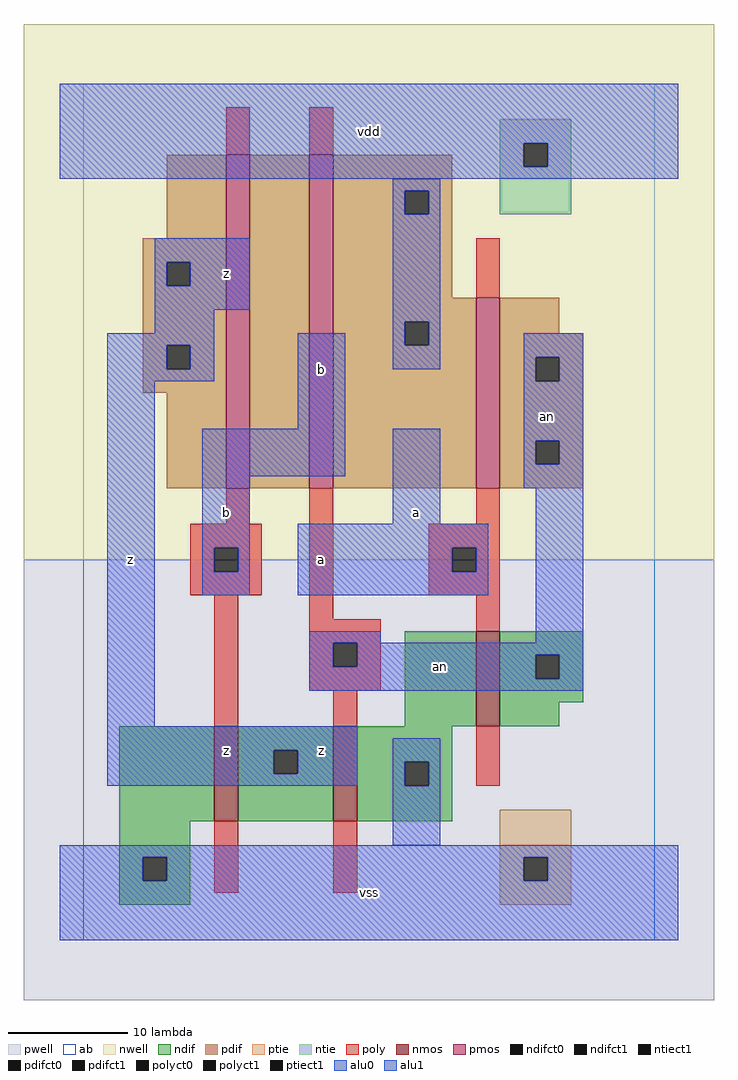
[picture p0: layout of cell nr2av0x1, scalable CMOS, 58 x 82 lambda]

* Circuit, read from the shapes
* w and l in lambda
.subckt nr2av0x1 a an b vdd vss z
M1 z b vss vss nfet w=8 l=2
M2 vss an z vss nfet w=8 l=2
M3 an a vss vss nfet w=8 l=2
M4 n1 b z vdd pfet w=28 l=2
M5 vdd an n1 vdd pfet w=28 l=2
M6 an a vdd vdd pfet w=16 l=2
.ends

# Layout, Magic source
magic
tech scmos
<< ab >>
rect 0 0 48 72
<< nwell >>
rect -5 32 53 77
<< pwell >>
rect -5 -5 53 32
<< poly >>
rect 12 66 14 70
rect 19 66 21 70
rect 33 54 35 59
rect 12 35 14 38
rect 9 33 15 35
rect 9 31 11 33
rect 13 31 15 33
rect 9 29 15 31
rect 11 18 13 29
rect 19 27 21 38
rect 33 35 35 38
rect 29 33 35 35
rect 29 31 31 33
rect 33 31 35 33
rect 29 29 35 31
rect 19 25 25 27
rect 33 26 35 29
rect 19 23 21 25
rect 23 23 25 25
rect 19 21 25 23
rect 21 18 23 21
rect 33 13 35 18
rect 11 4 13 10
rect 21 4 23 10
<< ndif >>
rect 27 18 33 26
rect 35 24 42 26
rect 35 22 38 24
rect 40 22 42 24
rect 35 20 42 22
rect 35 18 40 20
rect 3 10 11 18
rect 13 16 21 18
rect 13 14 16 16
rect 18 14 21 16
rect 13 10 21 14
rect 23 15 31 18
rect 23 13 27 15
rect 29 13 31 15
rect 23 10 31 13
rect 3 7 9 10
rect 3 5 5 7
rect 7 5 9 7
rect 3 3 9 5
<< pdif >>
rect 7 59 12 66
rect 5 57 12 59
rect 5 55 7 57
rect 9 55 12 57
rect 5 50 12 55
rect 5 48 7 50
rect 9 48 12 50
rect 5 46 12 48
rect 7 38 12 46
rect 14 38 19 66
rect 21 63 31 66
rect 21 61 27 63
rect 29 61 31 63
rect 21 54 31 61
rect 21 52 33 54
rect 21 50 27 52
rect 29 50 33 52
rect 21 38 33 50
rect 35 51 40 54
rect 35 49 42 51
rect 35 47 38 49
rect 40 47 42 49
rect 35 42 42 47
rect 35 40 38 42
rect 40 40 42 42
rect 35 38 42 40
<< alu1 >>
rect -2 67 50 72
rect -2 65 37 67
rect 39 65 50 67
rect -2 64 50 65
rect 6 57 14 59
rect 6 55 7 57
rect 9 55 14 57
rect 6 53 14 55
rect 6 51 11 53
rect 2 50 11 51
rect 2 48 7 50
rect 9 48 11 50
rect 2 47 11 48
rect 2 18 6 47
rect 18 43 22 51
rect 10 39 22 43
rect 10 33 14 39
rect 26 35 30 43
rect 10 31 11 33
rect 13 31 14 33
rect 10 29 14 31
rect 18 33 34 35
rect 18 31 31 33
rect 33 31 34 33
rect 18 29 34 31
rect 2 16 23 18
rect 2 14 16 16
rect 18 14 23 16
rect 2 13 23 14
rect -2 7 50 8
rect -2 5 5 7
rect 7 5 37 7
rect 39 5 50 7
rect -2 0 50 5
<< ptie >>
rect 35 7 41 11
rect 35 5 37 7
rect 39 5 41 7
rect 35 3 41 5
<< ntie >>
rect 35 67 41 69
rect 35 65 37 67
rect 39 65 41 67
rect 35 61 41 65
<< nmos >>
rect 33 18 35 26
rect 11 10 13 18
rect 21 10 23 18
<< pmos >>
rect 12 38 14 66
rect 19 38 21 66
rect 33 38 35 54
<< polyct0 >>
rect 21 23 23 25
<< polyct1 >>
rect 11 31 13 33
rect 31 31 33 33
<< ndifct0 >>
rect 38 22 40 24
rect 27 13 29 15
<< ndifct1 >>
rect 16 14 18 16
rect 5 5 7 7
<< ntiect1 >>
rect 37 65 39 67
<< ptiect1 >>
rect 37 5 39 7
<< pdifct0 >>
rect 27 61 29 63
rect 27 50 29 52
rect 38 47 40 49
rect 38 40 40 42
<< pdifct1 >>
rect 7 55 9 57
rect 7 48 9 50
<< alu0 >>
rect 26 63 30 64
rect 26 61 27 63
rect 29 61 30 63
rect 26 52 30 61
rect 26 50 27 52
rect 29 50 30 52
rect 26 48 30 50
rect 37 49 42 51
rect 37 47 38 49
rect 40 47 42 49
rect 37 42 42 47
rect 37 40 38 42
rect 40 40 42 42
rect 37 38 42 40
rect 19 25 25 26
rect 38 25 42 38
rect 19 23 21 25
rect 23 24 42 25
rect 23 23 38 24
rect 19 22 38 23
rect 40 22 42 24
rect 19 21 42 22
rect 26 15 30 17
rect 26 13 27 15
rect 29 13 30 15
rect 26 8 30 13
<< labels >>
rlabel alu0 30 23 30 23 6 an
rlabel alu0 39 44 39 44 6 an
rlabel alu1 4 32 4 32 6 z
rlabel alu1 20 16 20 16 6 z
rlabel alu1 12 16 12 16 6 z
rlabel alu1 20 32 20 32 6 a
rlabel alu1 12 36 12 36 6 b
rlabel alu1 20 48 20 48 6 b
rlabel alu1 12 56 12 56 6 z
rlabel alu1 24 4 24 4 6 vss
rlabel alu1 28 36 28 36 6 a
rlabel alu1 24 68 24 68 6 vdd
<< end >>
